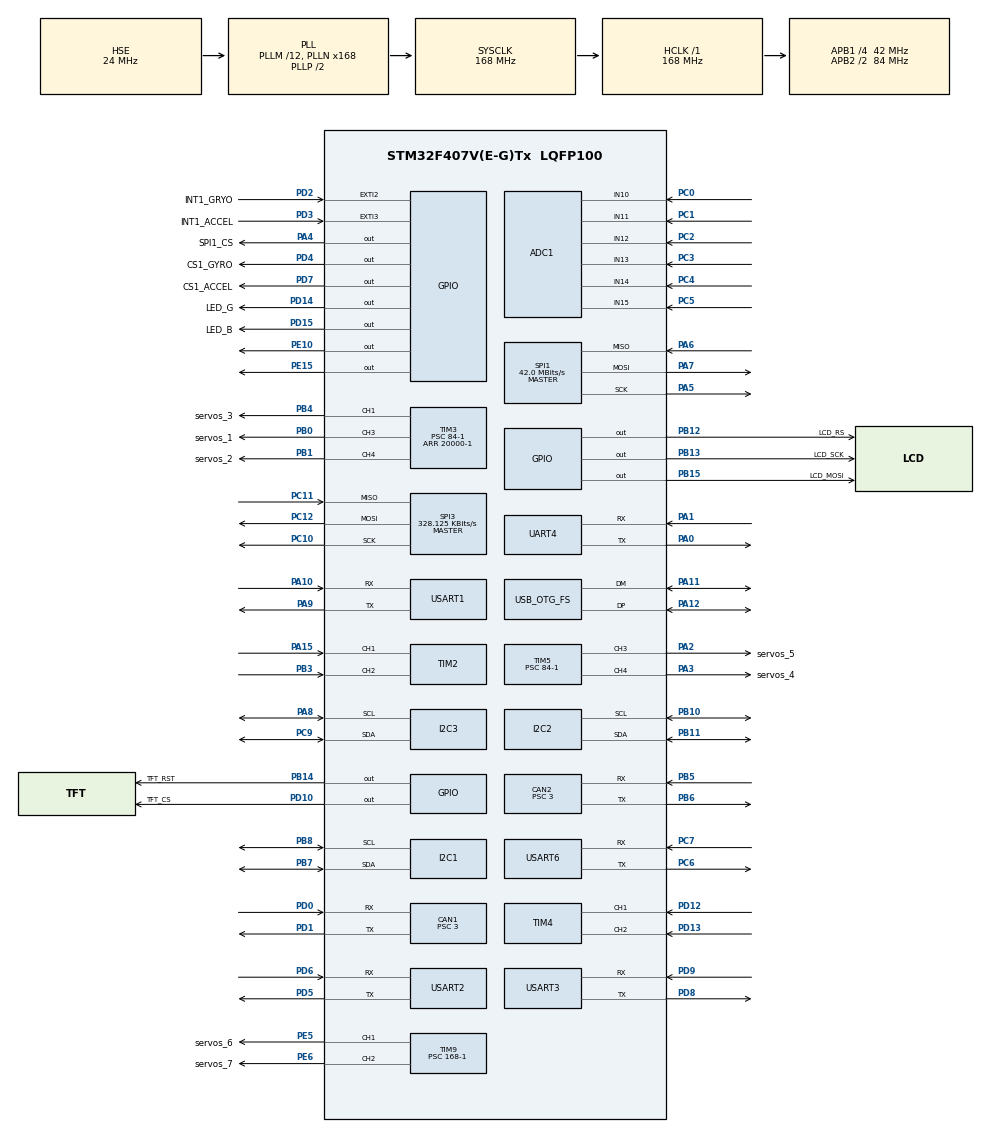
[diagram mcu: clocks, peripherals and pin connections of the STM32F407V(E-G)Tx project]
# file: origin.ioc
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ADC1.Channel-0\#ChannelRegularConversion=ADC_CHANNEL_10
ADC1.ClockPrescaler=ADC_CLOCK_SYNC_PCLK_DIV4
ADC1.NbrOfConversionFlag=1
ADC1.Rank-0\#ChannelRegularConversion=1
ADC1.SamplingTime-0\#ChannelRegularConversion=ADC_SAMPLETIME_3CYCLES
ADC1.master=1
ADC2.Channel-0\#ChannelRegularConversion=ADC_CHANNEL_10
ADC2.ClockPrescaler=ADC_CLOCK_SYNC_PCLK_DIV4
ADC2.NbrOfConversionFlag=1
ADC2.Rank-0\#ChannelRegularConversion=1
ADC2.SamplingTime-0\#ChannelRegularConversion=ADC_SAMPLETIME_3CYCLES
CAN1.BS1=CAN_BS1_10TQ
CAN1.BS2=CAN_BS2_3TQ
CAN1.CalculateBaudRate=1000000
CAN1.CalculateTimeBit=1000
CAN1.CalculateTimeQuantum=71.42857142857143
CAN1.Prescaler=3
CAN2.BS1=CAN_BS1_10TQ
CAN2.BS2=CAN_BS2_3TQ
CAN2.CalculateBaudRate=1000000
CAN2.CalculateTimeBit=1000
CAN2.CalculateTimeQuantum=71.42857142857143
CAN2.Prescaler=3
Dma.Request0=SPI3_RX
Dma.Request1=SPI3_TX
Dma.Request2=USART6_RX
Dma.Request3=USART6_TX
Dma.SPI3_RX.0.Direction=DMA_PERIPH_TO_MEMORY
Dma.SPI3_RX.0.FIFOMode=DMA_FIFOMODE_DISABLE
Dma.SPI3_RX.0.Instance=DMA1_Stream0
Dma.SPI3_RX.0.MemDataAlignment=DMA_MDATAALIGN_BYTE
Dma.SPI3_RX.0.MemInc=DMA_MINC_ENABLE
Dma.SPI3_RX.0.Mode=DMA_NORMAL
Dma.SPI3_RX.0.PeriphDataAlignment=DMA_PDATAALIGN_BYTE
Dma.SPI3_RX.0.PeriphInc=DMA_PINC_DISABLE
Dma.SPI3_RX.0.Priority=DMA_PRIORITY_HIGH
Dma.SPI3_TX.1.Direction=DMA_MEMORY_TO_PERIPH
Dma.SPI3_TX.1.FIFOMode=DMA_FIFOMODE_DISABLE
Dma.SPI3_TX.1.Instance=DMA1_Stream5
Dma.SPI3_TX.1.MemDataAlignment=DMA_MDATAALIGN_BYTE
Dma.SPI3_TX.1.MemInc=DMA_MINC_ENABLE
Dma.SPI3_TX.1.Mode=DMA_NORMAL
Dma.SPI3_TX.1.PeriphDataAlignment=DMA_PDATAALIGN_BYTE
Dma.SPI3_TX.1.PeriphInc=DMA_PINC_DISABLE
Dma.SPI3_TX.1.Priority=DMA_PRIORITY_MEDIUM
Dma.USART6_RX.2.Direction=DMA_PERIPH_TO_MEMORY
Dma.USART6_RX.2.FIFOMode=DMA_FIFOMODE_DISABLE
Dma.USART6_RX.2.Instance=DMA2_Stream1
Dma.USART6_RX.2.MemDataAlignment=DMA_MDATAALIGN_BYTE
Dma.USART6_RX.2.MemInc=DMA_MINC_ENABLE
Dma.USART6_RX.2.Mode=DMA_NORMAL
Dma.USART6_RX.2.PeriphDataAlignment=DMA_PDATAALIGN_BYTE
Dma.USART6_RX.2.PeriphInc=DMA_PINC_DISABLE
Dma.USART6_RX.2.Priority=DMA_PRIORITY_LOW
Dma.USART6_TX.3.Direction=DMA_MEMORY_TO_PERIPH
Dma.USART6_TX.3.FIFOMode=DMA_FIFOMODE_DISABLE
Dma.USART6_TX.3.Instance=DMA2_Stream6
Dma.USART6_TX.3.MemDataAlignment=DMA_MDATAALIGN_BYTE
Dma.USART6_TX.3.MemInc=DMA_MINC_ENABLE
Dma.USART6_TX.3.Mode=DMA_NORMAL
Dma.USART6_TX.3.PeriphDataAlignment=DMA_PDATAALIGN_BYTE
Dma.USART6_TX.3.PeriphInc=DMA_PINC_DISABLE
Dma.USART6_TX.3.Priority=DMA_PRIORITY_LOW
FREERTOS.Tasks01=defaultTask,0,128,StartDefaultTask,Default,NULL,Dynamic,NULL,NULL
FREERTOS.configENABLE_FPU=1
Mcu.Family=STM32F4
Mcu.Name=STM32F407V(E-G)Tx
Mcu.Package=LQFP100
NVIC.DMA1_Stream0_IRQn=true\:5\:0\:false\:false\:true\:true\:false\:true\:true
NVIC.DMA1_Stream5_IRQn=true\:5\:0\:false\:false\:true\:true\:false\:true\:true
NVIC.DMA2_Stream1_IRQn=true\:5\:0\:false\:false\:true\:true\:false\:true\:true
NVIC.DMA2_Stream6_IRQn=true\:5\:0\:false\:false\:true\:true\:false\:true\:true
NVIC.EXTI2_IRQn=true\:5\:0\:true\:false\:true\:true\:true\:true\:true
NVIC.EXTI3_IRQn=true\:5\:0\:true\:false\:true\:true\:true\:true\:true
NVIC.PriorityGroup=NVIC_PRIORITYGROUP_4
NVIC.USART6_IRQn=true\:5\:0\:false\:false\:true\:true\:true\:true\:true
PA0-WKUP.Mode=Asynchronous
PA0-WKUP.Signal=UART4_TX
PA1.Mode=Asynchronous
PA1.Signal=UART4_RX
PA10.Mode=Asynchronous
PA10.Signal=USART1_RX
PA11.Mode=Device_Only
PA11.Signal=USB_OTG_FS_DM
PA12.Mode=Device_Only
PA12.Signal=USB_OTG_FS_DP
PA13.Mode=Serial_Wire
PA13.Signal=SYS_JTMS-SWDIO
PA14.Mode=Serial_Wire
PA14.Signal=SYS_JTCK-SWCLK
PA15.Signal=S_TIM2_CH1_ETR
PA2.GPIO_Label=servos_5
PA2.Signal=S_TIM5_CH3
PA3.GPIO_Label=servos_4
PA3.Signal=S_TIM5_CH4
PA4.GPIO_Label=SPI1_CS
PA4.Signal=GPIO_Output
PA5.Mode=Full_Duplex_Master
PA5.Signal=SPI1_SCK
PA6.Mode=Full_Duplex_Master
PA6.Signal=SPI1_MISO
PA7.Mode=Full_Duplex_Master
PA7.Signal=SPI1_MOSI
PA8.Mode=I2C
PA8.Signal=I2C3_SCL
PA9.Mode=Asynchronous
PA9.Signal=USART1_TX
PB0.GPIO_Label=servos_1
PB0.Signal=S_TIM3_CH3
PB1.GPIO_Label=servos_2
PB1.Signal=S_TIM3_CH4
PB10.Mode=I2C
PB10.Signal=I2C2_SCL
PB11.Mode=I2C
PB11.Signal=I2C2_SDA
PB12.GPIO_Label=LCD_RS
PB12.GPIO_Speed=GPIO_SPEED_FREQ_HIGH
PB12.PinState=GPIO_PIN_SET
PB12.Signal=GPIO_Output
PB13.GPIO_Label=LCD_SCK
PB13.GPIO_PuPd=GPIO_PULLUP
PB13.GPIO_Speed=GPIO_SPEED_FREQ_HIGH
PB13.PinState=GPIO_PIN_SET
PB13.Signal=GPIO_Output
PB14.GPIO_Label=TFT_RST
PB14.GPIO_PuPd=GPIO_PULLUP
PB14.GPIO_Speed=GPIO_SPEED_FREQ_HIGH
PB14.PinState=GPIO_PIN_SET
PB14.Signal=GPIO_Output
PB15.GPIO_Label=LCD_MOSI
PB15.GPIO_PuPd=GPIO_PULLUP
PB15.GPIO_Speed=GPIO_SPEED_FREQ_HIGH
PB15.PinState=GPIO_PIN_SET
PB15.Signal=GPIO_Output
PB3.Signal=S_TIM2_CH2
PB4.GPIO_Label=servos_3
PB4.Signal=S_TIM3_CH1
PB5.Mode=CAN_Activate
PB5.Signal=CAN2_RX
PB6.Mode=CAN_Activate
PB6.Signal=CAN2_TX
PB7.Mode=I2C
PB7.Signal=I2C1_SDA
PB8.Mode=I2C
PB8.Signal=I2C1_SCL
PC0.Signal=ADCx_IN10
PC1.Signal=ADCx_IN11
PC10.Mode=Full_Duplex_Master
PC10.Signal=SPI3_SCK
PC11.Mode=Full_Duplex_Master
PC11.Signal=SPI3_MISO
PC12.Mode=Full_Duplex_Master
PC12.Signal=SPI3_MOSI
PC2.Signal=ADCx_IN12
PC3.Signal=ADCx_IN13
PC4.Signal=ADCx_IN14
PC5.Signal=ADCx_IN15
PC6.Mode=Asynchronous
PC6.Signal=USART6_TX
PC7.Mode=Asynchronous
PC7.Signal=USART6_RX
PC9.Mode=I2C
PC9.Signal=I2C3_SDA
PD0.Mode=CAN_Activate
PD0.Signal=CAN1_RX
PD1.Mode=CAN_Activate
PD1.Signal=CAN1_TX
PD10.GPIO_Label=TFT_CS
PD10.GPIO_Speed=GPIO_SPEED_FREQ_HIGH
PD10.PinState=GPIO_PIN_SET
PD10.Signal=GPIO_Output
PD12.Signal=S_TIM4_CH1
PD13.Signal=S_TIM4_CH2
PD14.GPIO_Label=LED_G
PD14.GPIO_PuPd=GPIO_NOPULL
PD14.Signal=GPIO_Output
PD15.GPIO_Label=LED_B
PD15.Signal=GPIO_Output
PD2.GPIO_Label=INT1_GRYO
PD2.GPIO_PuPd=GPIO_PULLUP
PD2.Signal=GPXTI2
PD3.GPIO_Label=INT1_ACCEL
PD3.GPIO_PuPd=GPIO_PULLUP
PD3.Signal=GPXTI3
PD4.GPIO_Label=CS1_GYRO
PD4.GPIO_PuPd=GPIO_PULLUP
PD4.GPIO_Speed=GPIO_SPEED_FREQ_HIGH
PD4.PinState=GPIO_PIN_SET
PD4.Signal=GPIO_Output
PD5.Mode=Asynchronous
PD5.Signal=USART2_TX
PD6.Mode=Asynchronous
PD6.Signal=USART2_RX
PD7.GPIO_Label=CS1_ACCEL
PD7.GPIO_PuPd=GPIO_PULLUP
PD7.GPIO_Speed=GPIO_SPEED_FREQ_HIGH
PD7.PinState=GPIO_PIN_SET
PD7.Signal=GPIO_Output
PD8.Mode=Asynchronous
PD8.Signal=USART3_TX
PD9.Mode=Asynchronous
PD9.Signal=USART3_RX
PE10.Signal=GPIO_Output
PE15.Signal=GPIO_Output
PE5.GPIO_Label=servos_6
PE5.Signal=S_TIM9_CH1
PE6.GPIO_Label=servos_7
PE6.Signal=S_TIM9_CH2
PH0-OSC_IN.Mode=HSE-External-Oscillator
PH0-OSC_IN.Signal=RCC_OSC_IN
PH1-OSC_OUT.Mode=HSE-External-Oscillator
PH1-OSC_OUT.Signal=RCC_OSC_OUT
ProjectManager.HeapSize=0x2000
ProjectManager.StackSize=0x800
ProjectManager.TargetToolchain=MDK-ARM V5.32
RCC.48MHZClocksFreq_Value=48000000
RCC.AHBFreq_Value=168000000
RCC.APB1CLKDivider=RCC_HCLK_DIV4
RCC.APB1Freq_Value=42000000
RCC.APB1TimFreq_Value=84000000
RCC.APB2CLKDivider=RCC_HCLK_DIV2
RCC.APB2Freq_Value=84000000
RCC.APB2TimFreq_Value=168000000
RCC.CortexFreq_Value=168000000
RCC.HCLKFreq_Value=168000000
RCC.HSE_VALUE=24000000
RCC.HSI_VALUE=16000000
RCC.LSE_VALUE=32768
RCC.PLLM=12
RCC.PLLN=168
RCC.PLLQ=7
RCC.SYSCLKFreq_VALUE=168000000
RCC.SYSCLKSource=RCC_SYSCLKSOURCE_PLLCLK
RCC.VCOOutputFreq_Value=336000000
SH.ADCx_IN10.0=ADC1_IN10,IN10
SH.ADCx_IN10.1=ADC2_IN10,IN10
SH.ADCx_IN11.0=ADC1_IN11,IN11
SH.ADCx_IN11.1=ADC2_IN11,IN11
SH.ADCx_IN12.0=ADC1_IN12,IN12
SH.ADCx_IN12.1=ADC2_IN12,IN12
SH.ADCx_IN13.0=ADC1_IN13,IN13
SH.ADCx_IN13.1=ADC2_IN13,IN13
SH.ADCx_IN14.0=ADC1_IN14,IN14
SH.ADCx_IN14.1=ADC2_IN14,IN14
SH.ADCx_IN15.0=ADC1_IN15,IN15
SH.ADCx_IN15.1=ADC2_IN15,IN15
SH.S_TIM2_CH1_ETR.0=TIM2_CH1,Encoder_Interface
SH.S_TIM2_CH2.0=TIM2_CH2,Encoder_Interface
SH.S_TIM3_CH1.0=TIM3_CH1,PWM Generation1 CH1
SH.S_TIM3_CH3.0=TIM3_CH3,PWM Generation3 CH3
SH.S_TIM3_CH4.0=TIM3_CH4,PWM Generation4 CH4
SH.S_TIM4_CH1.0=TIM4_CH1,Encoder_Interface
SH.S_TIM4_CH2.0=TIM4_CH2,Encoder_Interface
SH.S_TIM5_CH3.0=TIM5_CH3,PWM Generation3 CH3
SH.S_TIM5_CH4.0=TIM5_CH4,PWM Generation4 CH4
SH.S_TIM9_CH1.0=TIM9_CH1,PWM Generation1 CH1
SH.S_TIM9_CH2.0=TIM9_CH2,PWM Generation2 CH2
SPI1.CalculateBaudRate=42.0 MBits/s
SPI1.Direction=SPI_DIRECTION_2LINES
SPI1.Mode=SPI_MODE_MASTER
SPI1.VirtualType=VM_MASTER
SPI3.BaudRatePrescaler=SPI_BAUDRATEPRESCALER_128
SPI3.CLKPhase=SPI_PHASE_2EDGE
SPI3.CLKPolarity=SPI_POLARITY_HIGH
SPI3.CalculateBaudRate=328.125 KBits/s
SPI3.Direction=SPI_DIRECTION_2LINES
SPI3.Mode=SPI_MODE_MASTER
SPI3.VirtualType=VM_MASTER
TIM3.AutoReloadPreload=TIM_AUTORELOAD_PRELOAD_ENABLE
TIM3.Channel-PWM\ Generation1\ CH1=TIM_CHANNEL_1
TIM3.Channel-PWM\ Generation3\ CH3=TIM_CHANNEL_3
TIM3.Channel-PWM\ Generation4\ CH4=TIM_CHANNEL_4
TIM3.Period=20000-1
TIM3.Prescaler=84-1
TIM5.AutoReloadPreload=TIM_AUTORELOAD_PRELOAD_ENABLE
TIM5.Channel-PWM\ Generation3\ CH3=TIM_CHANNEL_3
TIM5.Channel-PWM\ Generation4\ CH4=TIM_CHANNEL_4
TIM5.Period=20000-1
TIM5.Prescaler=84-1
TIM9.AutoReloadPreload=TIM_AUTORELOAD_PRELOAD_ENABLE
TIM9.Channel-PWM\ Generation1\ CH1=TIM_CHANNEL_1
TIM9.Channel-PWM\ Generation2\ CH2=TIM_CHANNEL_2
TIM9.Period=20000-1
TIM9.Prescaler=168-1
UART4.VirtualMode=Asynchronous
USART1.VirtualMode=VM_ASYNC
USART2.VirtualMode=VM_ASYNC
USART3.VirtualMode=VM_ASYNC
USART6.VirtualMode=VM_ASYNC
USB_OTG_FS.VirtualMode=Device_Only
VP_FREERTOS_VS_CMSIS_V1.Mode=CMSIS_V1
VP_TIM3_VS_ClockSourceINT.Mode=Internal
VP_TIM5_VS_ClockSourceINT.Mode=Internal
VP_TIM9_VS_ClockSourceINT.Mode=Internal
board=custom

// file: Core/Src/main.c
/* USER CODE BEGIN Header */
/**
 ******************************************************************************
 * @file           : main.c
 * @brief          : Main program body
 ******************************************************************************
 * @attention
 *
 * Copyright (c) 2025 STMicroelectronics.
 * All rights reserved.
 *
 * This software is licensed under terms that can be found in the LICENSE file
 * in the root directory of this software component.
 * If no LICENSE file comes with this software, it is provided AS-IS.
 *
 ******************************************************************************
 */
/* USER CODE END Header */
#include "main.h"
#include "cmsis_os.h"
#include "adc.h"
#include "can.h"
#include "dma.h"
#include "i2c.h"
#include "spi.h"
#include "tim.h"
#include "usart.h"
#include "usb_otg.h"
#include "gpio.h"

/* USER CODE BEGIN Includes */
#include "dm_j4310.h"
#include "ZDTstepmotor.h"
#include "mainwork.h"
/* USER CODE END Includes */

void SystemClock_Config(void);
void MX_FREERTOS_Init(void);

int main(void)
{

  /* MCU Configuration--------------------------------------------------------*/

  /* Reset of all peripherals, Initializes the Flash interface and the Systick. */
  HAL_Init();

  /* Configure the system clock */
  SystemClock_Config();

  /* Initialize all configured peripherals */
  MX_GPIO_Init();
  MX_DMA_Init();
  MX_CAN1_Init();
  MX_SPI1_Init();
  MX_ADC1_Init();
  MX_ADC2_Init();
  MX_CAN2_Init();
  MX_I2C1_Init();
  MX_I2C2_Init();
  MX_I2C3_Init();
  MX_SPI3_Init();
  MX_TIM2_Init();
  MX_TIM3_Init();
  MX_TIM4_Init();
  MX_TIM5_Init();
  MX_TIM9_Init();
  MX_UART4_Init();
  MX_USART1_UART_Init();
  MX_USART2_UART_Init();
  MX_USART3_UART_Init();
  MX_USART6_UART_Init();
  MX_USB_OTG_FS_PCD_Init();
  /* USER CODE BEGIN 2 */
  HAL_GPIO_WritePin(GPIOD, GPIO_PIN_14, 0);
  HAL_GPIO_WritePin(GPIOD, GPIO_PIN_15, 0);
	//pwm配置
	HAL_TIM_PWM_Start(&htim3,TIM_CHANNEL_1);
	HAL_TIM_PWM_Start(&htim3,TIM_CHANNEL_3);
	HAL_TIM_PWM_Start(&htim3,TIM_CHANNEL_4);
	HAL_TIM_PWM_Start(&htim5,TIM_CHANNEL_4);
	HAL_TIM_PWM_Start(&htim5,TIM_CHANNEL_3);
	HAL_TIM_PWM_Start(&htim9,TIM_CHANNEL_1);
		HAL_TIM_PWM_Start(&htim9,TIM_CHANNEL_2);
	//这时候板子的pwm还是上一版
	__HAL_TIM_SET_COMPARE(&htim3,TIM_CHANNEL_1,0);//大转盘，950刚好一个对齐屁股，
	__HAL_TIM_SET_COMPARE(&htim3,TIM_CHANNEL_3,1000);//1000卡住，2300松开，左小蓝机
	__HAL_TIM_SET_COMPARE(&htim3,TIM_CHANNEL_4,950); //950卡住，1800松开，右小蓝机
	__HAL_TIM_SET_COMPARE(&htim5,TIM_CHANNEL_4 ,0);//小转盘，2000为里，600为外
		__HAL_TIM_SET_COMPARE(&htim5,TIM_CHANNEL_3 ,0 );//抬升，500最高，1000中间，1200最低
		__HAL_TIM_SET_COMPARE(&htim9,TIM_CHANNEL_1 ,1360);//夹爪，1800紧，1400松
		__HAL_TIM_SET_COMPARE(&htim9,TIM_CHANNEL_2 ,1640);//夹爪1100锁紧，1600松

	//
  main_work();

  /* USER CODE END 2 */

  /* Call init function for freertos objects (in cmsis_os2.c) */
  MX_FREERTOS_Init();

  /* Start scheduler */
  osKernelStart();

  /* We should never get here as control is now taken by the scheduler */

  /* Infinite loop */
  while (1)
  {

  }
}

void SystemClock_Config(void)
{
  RCC_OscInitTypeDef RCC_OscInitStruct = {0};
  RCC_ClkInitTypeDef RCC_ClkInitStruct = {0};

  /** Configure the main internal regulator output voltage
  */
  __HAL_RCC_PWR_CLK_ENABLE();
  __HAL_PWR_VOLTAGESCALING_CONFIG(PWR_REGULATOR_VOLTAGE_SCALE1);

  /** Initializes the RCC Oscillators according to the specified parameters
  * in the RCC_OscInitTypeDef structure.
  */
  RCC_OscInitStruct.OscillatorType = RCC_OSCILLATORTYPE_HSE;
  RCC_OscInitStruct.HSEState = RCC_HSE_ON;
  RCC_OscInitStruct.PLL.PLLState = RCC_PLL_ON;
  RCC_OscInitStruct.PLL.PLLSource = RCC_PLLSOURCE_HSE;
  RCC_OscInitStruct.PLL.PLLM = 12;
  RCC_OscInitStruct.PLL.PLLN = 168;
  RCC_OscInitStruct.PLL.PLLP = RCC_PLLP_DIV2;
  RCC_OscInitStruct.PLL.PLLQ = 7;
  if (HAL_RCC_OscConfig(&RCC_OscInitStruct) != HAL_OK)
  {
    Error_Handler();
  }

  /** Initializes the CPU, AHB and APB buses clocks
  */
  RCC_ClkInitStruct.ClockType = RCC_CLOCKTYPE_HCLK|RCC_CLOCKTYPE_SYSCLK
                              |RCC_CLOCKTYPE_PCLK1|RCC_CLOCKTYPE_PCLK2;
  RCC_ClkInitStruct.SYSCLKSource = RCC_SYSCLKSOURCE_PLLCLK;
  RCC_ClkInitStruct.AHBCLKDivider = RCC_SYSCLK_DIV1;
  RCC_ClkInitStruct.APB1CLKDivider = RCC_HCLK_DIV4;
  RCC_ClkInitStruct.APB2CLKDivider = RCC_HCLK_DIV2;

  if (HAL_RCC_ClockConfig(&RCC_ClkInitStruct, FLASH_LATENCY_5) != HAL_OK)
  {
    Error_Handler();
  }
}

void Error_Handler(void)
{
  __disable_irq();
  while (1)
  {
  }
}
